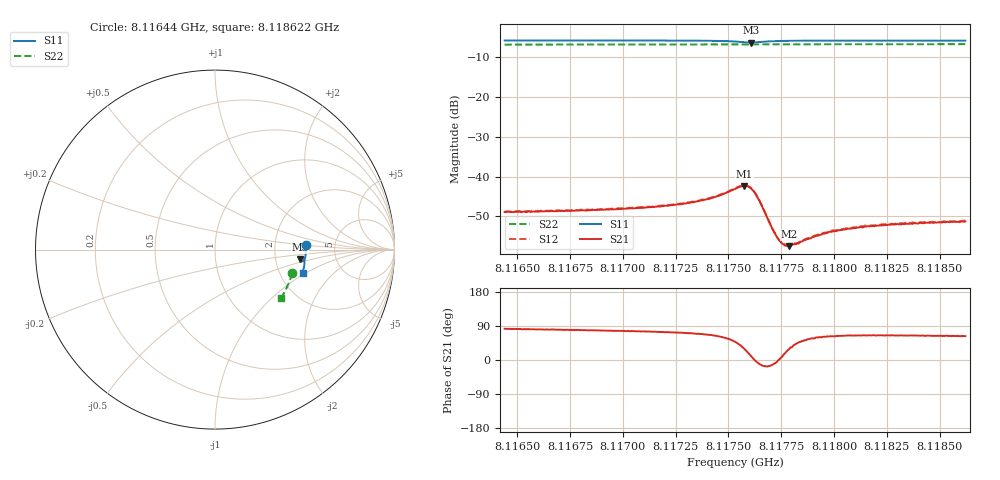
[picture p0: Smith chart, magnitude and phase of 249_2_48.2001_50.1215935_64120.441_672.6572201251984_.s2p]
#  HZ  S  RI  R  50.00
! Rohde & Schwarz Vector Network Analyzer
! Rohde-Schwarz,ZNB20-2Port,1311601062101988,3.16
! Created: UTC 3/20/2024, 11:47:11 AM
! freq[Hz]  re:S11  im:S11  re:S21  im:S21  re:S12  im:S12  re:S22  im:S22
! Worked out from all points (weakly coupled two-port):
!   401 points, 8.11644 GHz to 8.118622 GHz, reference 50 ohm
!   highest |S21| = -42.36 dB at 8.117575 GHz (marker M1); lowest = -57.5 dB at 8.117788 GHz (marker M2)
!   lowest |S11| = -6.4 dB at 8.117608 GHz (marker M3), VSWR 2.82, Z = 138 - j19.5 ohm
!   |S11| at or under -10 dB: nowhere
!   |S22| runs from -6.9 to -6.8 dB; largest |S21 - S12| = 0.0002
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8.1164399e9  0.5063 0.0257  0.000475 0.00356  0.000506 0.00359  0.4297 -0.1317
8.1168055e9  0.5064 -0.00243  0.000717 0.0037  0.000771 0.00375  0.4227 -0.156
8.117171e9  0.5043 -0.0314  0.00117 0.00404  0.00121 0.00412  0.414 -0.1801
8.1172747e9  0.503 -0.0403  0.00139 0.00427  0.00145 0.00436  0.4113 -0.1867
8.1173893e9  0.5002 -0.0511  0.00197 0.00476  0.00204 0.00481  0.4082 -0.1942
8.1174548e9  0.4968 -0.0581  0.00265 0.00509  0.00278 0.00517  0.4061 -0.1985
8.1175311e9  0.4874 -0.0657  0.00464 0.00521  0.00478 0.0053  0.4036 -0.2032
8.1175748e9  0.4771 -0.0637  0.00661 0.00379  0.00679 0.00386  0.4019 -0.2058
8.1175912e9  0.4744 -0.0599  0.00707 0.0026  0.0072 0.00259  0.4014 -0.2065
8.1176075e9  0.4736 -0.0547  0.00697 0.00122  0.00713 0.00117  0.401 -0.2072
8.1176239e9  0.4757 -0.0499  0.00631 -7.32e-06  0.00642 -2.14e-05  0.4006 -0.2082
8.1176403e9  0.4795 -0.0469  0.00529 -0.00076  0.00538 -0.000824  0.4006 -0.2091
8.1177057e9  0.4932 -0.0505  0.00221 -0.000514  0.00224 -0.000547  0.3991 -0.2134
8.117733e9  0.4958 -0.0542  0.00169 -7.18e-05  0.00171 -8.82e-05  0.3984 -0.2151
8.1177603e9  0.4974 -0.0577  0.00138 0.000333  0.0014 0.000303  0.3975 -0.2169
8.1177876e9  0.4981 -0.0612  0.00118 0.000642  0.00121 0.000682  0.3968 -0.2187
8.1178203e9  0.4986 -0.0648  0.00104 0.000965  0.00108 0.00098  0.396 -0.2208
8.1178967e9  0.4987 -0.0727  0.000934 0.00147  0.000983 0.00146  0.3933 -0.2256
8.1180004e9  0.4979 -0.082  0.000945 0.00182  0.000967 0.00188  0.39 -0.232
8.1181368e9  0.4961 -0.0932  0.000951 0.0021  0.00102 0.00215  0.3853 -0.2405
8.1182623e9  0.4942 -0.1029  0.00104 0.00226  0.00111 0.00227  0.381 -0.2481
8.1186224e9  0.4877 -0.1298  0.00124 0.00244  0.0013 0.00249  0.3675 -0.2695
